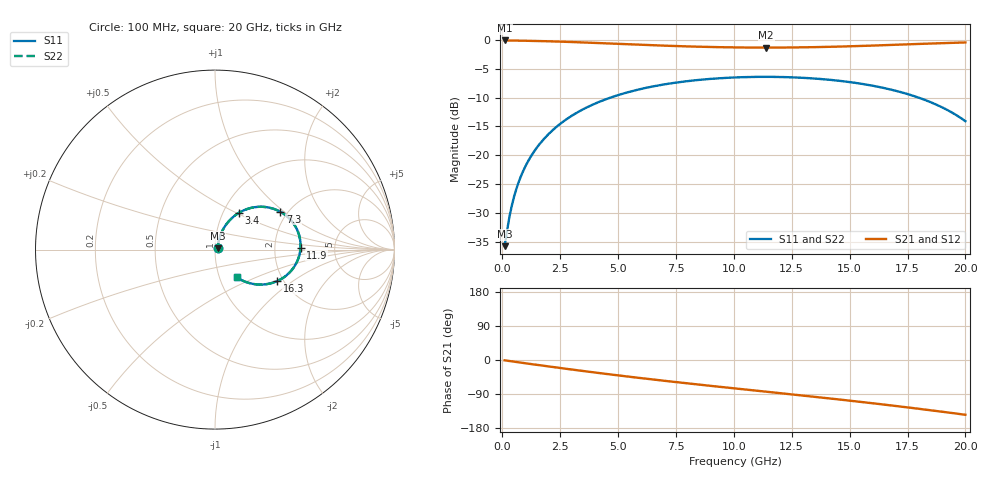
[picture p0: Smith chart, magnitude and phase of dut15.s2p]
! Touchstone file exported from HFSS 2026.1.0
!  File:  C:/ffzhzh/LocalFiles/Ansys_Project_Files/temp_train_TSV_RDL_15_1782962047_6388.aedt
!  Generated:  11:23:27 AM Jul  2, 2026
!  Design:  TSV_RDL
!  Project:  temp_train_TSV_RDL_15_1782962047_6388
! Variables:
!  h_bsmrdl = 2.07um
!  h_ox = 20um
!  h_rdl = 5um
!  h_sub = 75.47um
!  h_tmrdl = 4.77um
!  h_tsv = 75.47um
!  h_via = 3um
!  l_bsmrdl = 223.42um
!  l_sub = 2315.61um
!  l_tmrdl = 286.01um
!  m_sub = 200um
!  pitch = 42.51um
!  r_tsv = 9.77um
!  s_tmrdl = 10um
!  w_bsmrdl = 22.72um
!  w_sub = 500um
!  w_tmrdl = 11.05um
!  x_tsv_center1 = 291.535um
!  x_tsv_center2 = 537.675um
!  x_tsv_center3 = 834.735um
!  x_tsv_center4 = 1080.875um
!  x_tsv_center5 = 1377.935um
!  x_tsv_center6 = 1624.075um
# GHz S MA R 50.000000
! Terminal data exported
! Port[1] = TM_RDL1_1_T1
! Port[2] = TM_RDL5_1_T1
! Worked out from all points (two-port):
!   200 points, 100 MHz to 20 GHz, reference 50 ohm
!   highest |S21| = -0.12 dB at 100 MHz (marker M1); lowest = -1.4 dB at 11.4 GHz (marker M2)
!   |S21| within 3 dB of the highest: start of sweep to end of sweep
!   lowest |S11| = -35.7 dB at 100 MHz (marker M3), VSWR 1.03, Z = 51.4 + j0.839 ohm
!   |S11| at or under -10 dB: start of sweep to 4.68 GHz; 17.97 GHz to end of sweep
!   |S22| runs from -35.7 to -6.4 dB; largest |S21 - S12| = 2.7e-14
!   S11 on the Smith chart (normalised r, x): 100 MHz: 1.03, +0.02; 3.4 GHz: 1.19, +0.52; 7.3 GHz: 1.83, +0.94; 11.9 GHz: 2.82, +0.08; 16.3 GHz: 1.86, -0.77; 20 GHz: 1.21, -0.39
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0.1  0.01639 29.8  0.9859 -0.9  0.9859 -0.9  0.01639 29.8
! Gamma 0 0 0 0
! Port Impedance 50 0 50 0
0.3  0.02876 56.5  0.9849 -2.7  0.9849 -2.7  0.02876 56.5
0.5  0.04331 64.7  0.9837 -4.4  0.9837 -4.4  0.04331 64.7
0.8  0.06564 68.7  0.9816 -6.9  0.9816 -6.9  0.06564 68.7
1.1  0.08792 69.3  0.9792 -9.5  0.9792 -9.5  0.08792 69.3
1.6  0.1244 68.0  0.9744 -13.7  0.9744 -13.7  0.1244 68.0
2.1  0.1599 65.4  0.9685 -17.8  0.9685 -17.8  0.1599 65.4
2.7  0.2005 61.7  0.9602 -22.7  0.9602 -22.7  0.2005 61.7
3.4  0.2449 56.9  0.9492 -28.3  0.9492 -28.3  0.2449 56.9
3.5  0.2509 56.2  0.9476 -29.1  0.9476 -29.1  0.251 56.2
5  0.332 45.7  0.9214 -40.6  0.9214 -40.6  0.332 45.7
6.8  0.4046 33.5  0.8917 -53.5  0.8917 -53.5  0.4046 33.5
7.3  0.4202 30.2  0.8845 -56.9  0.8845 -56.9  0.4202 30.2
10.1  0.4724 12.5  0.8582 -75.4  0.8582 -75.4  0.4724 12.5
11.4  0.4777 4.5  0.8552 -83.7  0.8552 -83.7  0.4778 4.5
11.9  0.4767 1.4  0.8556 -86.9  0.8556 -86.9  0.4767 1.4
13.4  0.463 -7.9  0.8623 -96.6  0.8623 -96.6  0.4631 -7.9
14.8  0.4356 -16.8  0.8752 -105.9  0.8752 -105.9  0.4356 -16.8
16.3  0.3894 -26.7  0.8945 -116.3  0.8945 -116.3  0.3894 -26.7
16.7  0.374 -29.3  0.9003 -119.2  0.9003 -119.2  0.374 -29.4
18.5  0.2883 -41.7  0.9274 -132.6  0.9274 -132.6  0.2883 -41.7
20  0.1976 -51.7  0.9472 -144.5  0.9472 -144.5  0.1976 -51.8
